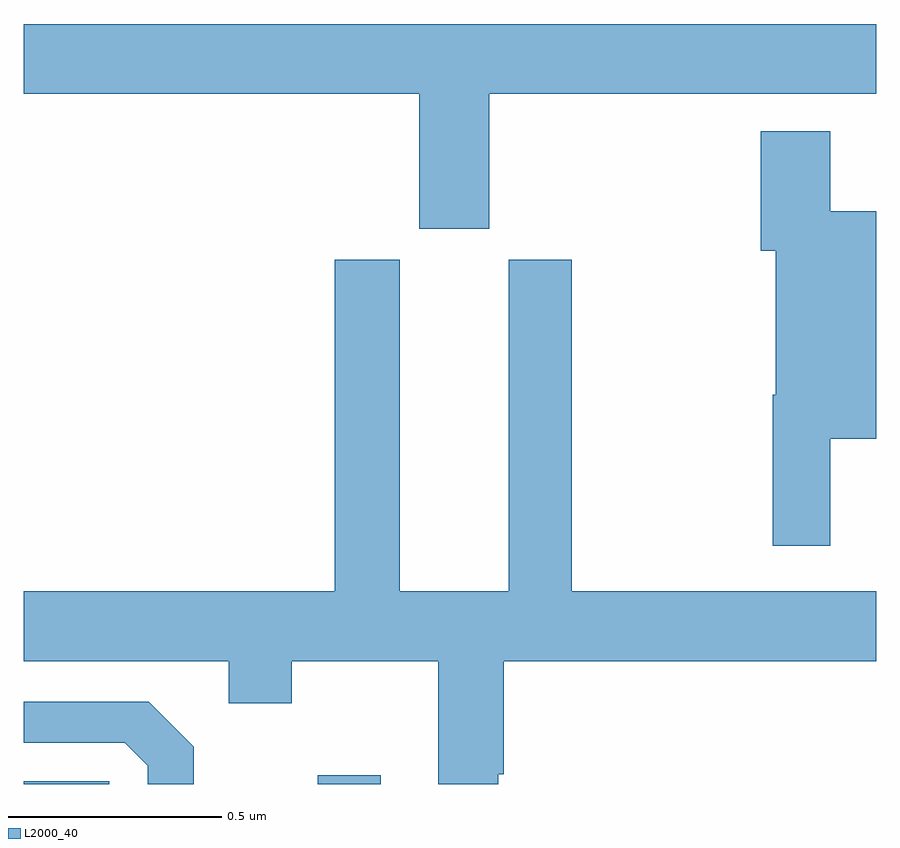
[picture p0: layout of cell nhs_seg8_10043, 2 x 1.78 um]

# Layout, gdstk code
import gdstk
lib = gdstk.Library(unit=1e-6, precision=1e-09)
def R(c, l, rs):  # rectangles x0, y0, x1, y1
    for r in rs: c.add(gdstk.rectangle(r[:2], r[2:], *l))
def P(c, l, *ps):  # polygons
    for p in ps: c.add(gdstk.Polygon(p, *l))
L2000_40 = (2000, 40)

nhs_seg8_10043 = lib.new_cell('nhs_seg8_10043')
R(nhs_seg8_10043, L2000_40, [(244,1094.9,244.2,1094.907), (244.689,1094.9,244.837,1094.92)])
P(nhs_seg8_10043, L2000_40, [(245.092,1096.52),(246,1096.52),(246,1096.684),(244,1096.684),(244,1096.52),(244.928,1096.52),(244.928,1096.203),(245.092,1096.203)],
  [(245.893,1095.71),(246,1095.71),(246,1096.245),(245.893,1096.245),(245.893,1096.432),(245.729,1096.432),(245.729,1096.152),(245.765,1096.152),(245.765,1095.814),(245.758,1095.814),(245.758,1095.459),(245.893,1095.459)],
  [(245.113,1094.923),(245.126,1094.923),(245.126,1095.188),(246,1095.188),(246,1095.352),(245.286,1095.352),(245.286,1096.131),(245.138,1096.131),(245.138,1095.352),(244.882,1095.352),(244.882,1096.131),(244.73,1096.131),(244.73,1095.352),(244,1095.352),(244,1095.188),(244.481,1095.188),(244.481,1095.089),(244.629,1095.089),(244.629,1095.188),(244.973,1095.188),(244.973,1094.9),(245.113,1094.9)],
  [(244.399,1094.987),(244.293,1095.093),(244,1095.093),(244,1094.997),(244.236,1094.997),(244.29,1094.943),(244.29,1094.9),(244.399,1094.9)])

lib.write_gds('nhs_seg8_10043.gds')
